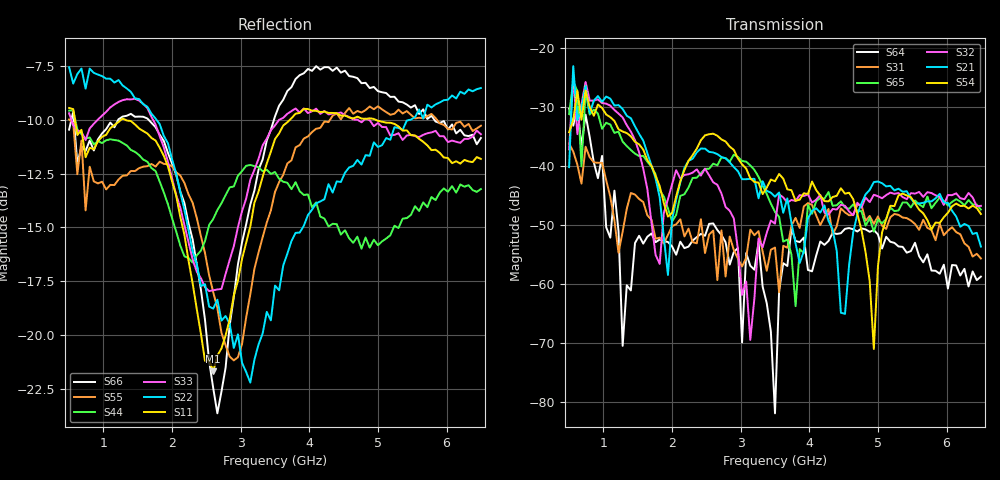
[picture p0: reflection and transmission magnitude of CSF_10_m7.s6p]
!Keysight Technologies,M9804A,MY58100912,A.14.10.03
!Date: Thursday, April 27, 2023 10:28:33
!Correction: S11(C  6-Port  )
!S12(C  6-Port  )
!S13(C  6-Port  )
!S14(C  6-Port  )
!S15(C  6-Port  )
!S16(C  6-Port  )
!S21(C  6-Port  )
!S22(C  6-Port  )
!S23(C  6-Port  )
!S24(C  6-Port  )
!S25(C  6-Port  )
!S26(C  6-Port  )
!S31(C  6-Port  )
!S32(C  6-Port  )
!S33(C  6-Port  )
!S34(C  6-Port  )
!S35(C  6-Port  )
!S36(C  6-Port  )
!S41(C  6-Port  )
!S42(C  6-Port  )
!S43(C  6-Port  )
!S44(C  6-Port  )
!S45(C  6-Port  )
!S46(C  6-Port  )
!S51(C  6-Port  )
!S52(C  6-Port  )
!S53(C  6-Port  )
!S54(C  6-Port  )
!S55(C  6-Port  )
!S56(C  6-Port  )
!S61(C  6-Port  )
!S62(C  6-Port  )
!S63(C  6-Port  )
!S64(C  6-Port  )
!S65(C  6-Port  )
!S66(C  6-Port  )
!S6P File: Measurement: :
# Hz S  RI  R 50
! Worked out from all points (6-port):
!   101 points, 500 MHz to 6.5 GHz, reference 50 ohm
!   strongest paths, dB at 500 MHz, 2 GHz, 3.5 GHz, 5 GHz, 6.5 GHz:
!     S54: -34.2, -48.0, -42.6, -57.0, -48.1
!     S21: -40.2, -49.1, -45.2, -42.6, -53.7
!     S32: -37.1, -43.1, -49.8, -45.1, -46.8
!     S65: -31.1, -49.4, -47.8, -49.1, -47.4
!     S31: -36.2, -50.2, -53.8, -48.5, -55.7
!     S64: -30.2, -53.6, -82.0, -51.6, -58.8
!   lowest |S11| = -21.7 dB at 2.6 GHz (marker M1), VSWR 1.18, Z = 42.6 + j2.05 ohm
!   |S11| at or under -10 dB: 584.9 MHz to 1.257 GHz (672.3 MHz wide, 73 % of centre); 1.32 GHz to 3.716 GHz (2.396 GHz wide, 95.2 % of centre); 4.969 GHz to end of sweep
